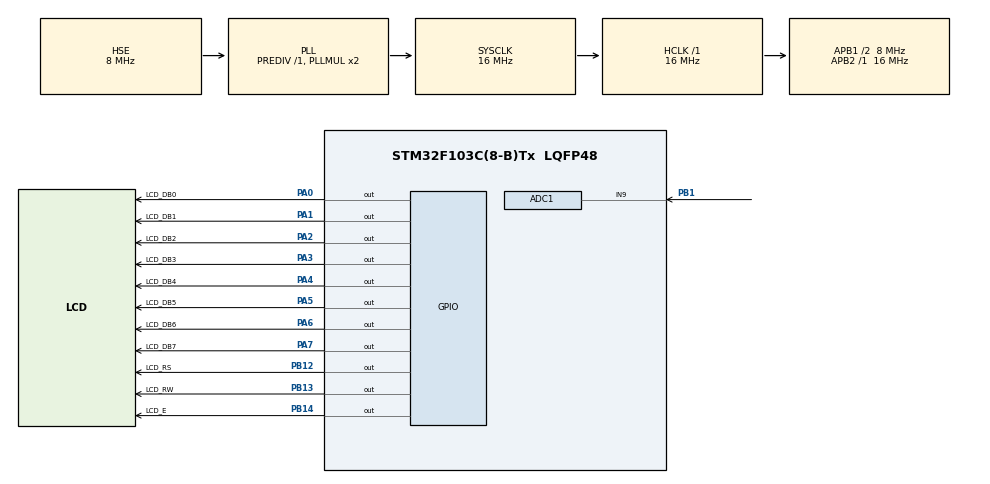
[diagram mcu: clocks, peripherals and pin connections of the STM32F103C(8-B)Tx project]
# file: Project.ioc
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ADC1.Channel-0\#ChannelRegularConversion=ADC_CHANNEL_9
ADC1.ContinuousConvMode=ENABLE
ADC1.NbrOfConversionFlag=1
ADC1.Rank-0\#ChannelRegularConversion=1
ADC1.SamplingTime-0\#ChannelRegularConversion=ADC_SAMPLETIME_1CYCLE_5
ADC1.master=1
Mcu.Family=STM32F1
Mcu.Name=STM32F103C(8-B)Tx
Mcu.Package=LQFP48
NVIC.PriorityGroup=NVIC_PRIORITYGROUP_4
NVIC.TIM2_IRQn=true\:0\:0\:false\:false\:true\:true\:true\:true
PA0-WKUP.GPIO_Label=LCD_DB0
PA0-WKUP.GPIO_Speed=GPIO_SPEED_FREQ_MEDIUM
PA0-WKUP.Signal=GPIO_Output
PA1.GPIO_Label=LCD_DB1
PA1.GPIO_Speed=GPIO_SPEED_FREQ_MEDIUM
PA1.Signal=GPIO_Output
PA13.Mode=Serial_Wire
PA13.Signal=SYS_JTMS-SWDIO
PA14.Mode=Serial_Wire
PA14.Signal=SYS_JTCK-SWCLK
PA2.GPIO_Label=LCD_DB2
PA2.GPIO_Speed=GPIO_SPEED_FREQ_MEDIUM
PA2.Signal=GPIO_Output
PA3.GPIO_Label=LCD_DB3
PA3.GPIO_Speed=GPIO_SPEED_FREQ_MEDIUM
PA3.Signal=GPIO_Output
PA4.GPIO_Label=LCD_DB4
PA4.GPIO_Speed=GPIO_SPEED_FREQ_MEDIUM
PA4.Signal=GPIO_Output
PA5.GPIO_Label=LCD_DB5
PA5.GPIO_Speed=GPIO_SPEED_FREQ_MEDIUM
PA5.Signal=GPIO_Output
PA6.GPIO_Label=LCD_DB6
PA6.GPIO_Speed=GPIO_SPEED_FREQ_MEDIUM
PA6.Signal=GPIO_Output
PA7.GPIO_Label=LCD_DB7
PA7.GPIO_Speed=GPIO_SPEED_FREQ_MEDIUM
PA7.Signal=GPIO_Output
PB1.Signal=ADCx_IN9
PB12.GPIO_Label=LCD_RS
PB12.GPIO_Speed=GPIO_SPEED_FREQ_MEDIUM
PB12.Signal=GPIO_Output
PB13.GPIO_Label=LCD_RW
PB13.GPIO_Speed=GPIO_SPEED_FREQ_MEDIUM
PB13.Signal=GPIO_Output
PB14.GPIO_Label=LCD_E
PB14.GPIO_Speed=GPIO_SPEED_FREQ_MEDIUM
PB14.Signal=GPIO_Output
PD0-OSC_IN.Mode=HSE-External-Oscillator
PD0-OSC_IN.Signal=RCC_OSC_IN
PD1-OSC_OUT.Mode=HSE-External-Oscillator
PD1-OSC_OUT.Signal=RCC_OSC_OUT
ProjectManager.HeapSize=0x200
ProjectManager.StackSize=0x400
ProjectManager.TargetToolchain=STM32CubeIDE
RCC.AHBFreq_Value=16000000
RCC.APB1CLKDivider=RCC_HCLK_DIV2
RCC.APB1Freq_Value=8000000
RCC.APB1TimFreq_Value=16000000
RCC.APB2Freq_Value=16000000
RCC.APB2TimFreq_Value=16000000
RCC.HCLKFreq_Value=16000000
RCC.PLLSourceVirtual=RCC_PLLSOURCE_HSE
RCC.SYSCLKFreq_VALUE=16000000
RCC.SYSCLKSource=RCC_SYSCLKSOURCE_PLLCLK
RCC.USBFreq_Value=16000000
SH.ADCx_IN9.0=ADC1_IN9,IN9
TIM2.Period=10000-1
TIM2.Prescaler=7200-1
TIM2.TIM_MasterOutputTrigger=TIM_TRGO_UPDATE
VP_TIM2_VS_ClockSourceINT.Mode=Internal
board=custom

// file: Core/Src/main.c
/* USER CODE BEGIN Header */
/**
 ******************************************************************************
 * @file           : main.c
 * @brief          : Main program body
 ******************************************************************************
 * @attention
 *
 * Copyright (c) 2024 STMicroelectronics.
 * All rights reserved.
 *
 * This software is licensed under terms that can be found in the LICENSE file
 * in the root directory of this software component.
 * If no LICENSE file comes with this software, it is provided AS-IS.
 *
 ******************************************************************************
 */
/* USER CODE END Header */
#include "main.h"
#include "adc.h"
#include "tim.h"
#include "gpio.h"
#include "Delay.h"
#include "lcd1602.h"
#include <stdint.h>

void SystemClock_Config(void);
uint16_t calculateHumidity(uint16_t readValue);

/* USER CODE BEGIN 0 */
uint16_t readValue;

#define EXTREME_DRY 2555
#define EXTREME_WET 1755

uint16_t calculateHumidity(uint16_t readValue)
{
    volatile double Humidity;
    if (readValue >= EXTREME_DRY) {
        Humidity = 0.0; // 乾燥
    } else if (readValue <= EXTREME_WET) {
        Humidity = 100.0; // 潮濕
    } else {
        Humidity = ((double)(EXTREME_DRY - readValue) / (EXTREME_DRY - EXTREME_WET)) * 100.0;
    }
    return (uint16_t)Humidity;
}
/* USER CODE END 0 */

int main(void)
{

  /* USER CODE BEGIN 1 */
    uint16_t humidity;
  /* USER CODE END 1 */

  /* MCU Configuration--------------------------------------------------------*/

  /* Reset of all peripherals, Initializes the Flash interface and the Systick. */
  HAL_Init();

  /* Configure the system clock */
  SystemClock_Config();

  /* Initialize all configured peripherals */
  MX_GPIO_Init();
  MX_TIM2_Init();
  MX_ADC1_Init();
  /* USER CODE BEGIN 2 */

    LCD_init(); // BJ LCD initiate
    uchar startMoistureString[] = "Moisture: ";

    HAL_ADC_Start(&hadc1);
  /* USER CODE END 2 */

  /* Infinite loop */
    while (1) {

    /* USER CODE BEGIN 3 */
        // LCD_Clear();
        Delay_ms(10);
        // LCD_Display_String(0, 0, startStr2);
        HAL_ADC_PollForConversion(&hadc1, 1000);
        readValue = HAL_ADC_GetValue(&hadc1);

        // LCD_Display_Decimal(0, 0, readValue, 5); // I think this line may be helpful

        LCD_Display_String(0, 0,startMoistureString);
        humidity = calculateHumidity(readValue);
        LCD_Display_Decimal(0, 10, humidity, 5);

        // Below logic is NECESSARY!!!!!!!!
        // Otherwise, the lcd would display " ... 5%% ... " AFTER displaying a TWO digits humidity
        if (humidity < 10)
        {
            LCD_Display_Char('%', 0, 11);
            LCD_Display_Char(' ', 0, 12);
        }
        else
        {
            LCD_Display_Char('%', 0, 12);
        }

        // LCD_Display_Char('%',0, 12);
        // Delay_s(1000);
        // LCD_Clear();
    }
    /* USER CODE END 3 */
}

void SystemClock_Config(void)
{
  RCC_OscInitTypeDef RCC_OscInitStruct = {0};
  RCC_ClkInitTypeDef RCC_ClkInitStruct = {0};
  RCC_PeriphCLKInitTypeDef PeriphClkInit = {0};

  /** Initializes the RCC Oscillators according to the specified parameters
  * in the RCC_OscInitTypeDef structure.
  */
  RCC_OscInitStruct.OscillatorType = RCC_OSCILLATORTYPE_HSE;
  RCC_OscInitStruct.HSEState = RCC_HSE_ON;
  RCC_OscInitStruct.HSEPredivValue = RCC_HSE_PREDIV_DIV1;
  RCC_OscInitStruct.HSIState = RCC_HSI_ON;
  RCC_OscInitStruct.PLL.PLLState = RCC_PLL_ON;
  RCC_OscInitStruct.PLL.PLLSource = RCC_PLLSOURCE_HSE;
  RCC_OscInitStruct.PLL.PLLMUL = RCC_PLL_MUL2;
  if (HAL_RCC_OscConfig(&RCC_OscInitStruct) != HAL_OK)
  {
    Error_Handler();
  }

  /** Initializes the CPU, AHB and APB buses clocks
  */
  RCC_ClkInitStruct.ClockType = RCC_CLOCKTYPE_HCLK|RCC_CLOCKTYPE_SYSCLK
                              |RCC_CLOCKTYPE_PCLK1|RCC_CLOCKTYPE_PCLK2;
  RCC_ClkInitStruct.SYSCLKSource = RCC_SYSCLKSOURCE_PLLCLK;
  RCC_ClkInitStruct.AHBCLKDivider = RCC_SYSCLK_DIV1;
  RCC_ClkInitStruct.APB1CLKDivider = RCC_HCLK_DIV2;
  RCC_ClkInitStruct.APB2CLKDivider = RCC_HCLK_DIV1;

  if (HAL_RCC_ClockConfig(&RCC_ClkInitStruct, FLASH_LATENCY_0) != HAL_OK)
  {
    Error_Handler();
  }
  PeriphClkInit.PeriphClockSelection = RCC_PERIPHCLK_ADC;
  PeriphClkInit.AdcClockSelection = RCC_ADCPCLK2_DIV2;
  if (HAL_RCCEx_PeriphCLKConfig(&PeriphClkInit) != HAL_OK)
  {
    Error_Handler();
  }
}

void Error_Handler(void)
{
    __disable_irq();
    while (1) {
    }
}

#ifdef  USE_FULL_ASSERT
/**
  * @brief  Reports the name of the source file and the source line number
  *         where the assert_param error has occurred.
  * @param  file: pointer to the source file name
  * @param  line: assert_param error line source number
  * @retval None
  */
void assert_failed(uint8_t *file, uint32_t line)
{
  /* USER CODE BEGIN 6 */
  /* User can add his own implementation to report the file name and line
     number, ex: printf("Wrong parameters value: file %s on line %d\r\n", file,
     line) */
  /* USER CODE END 6 */
}
#endif /* USE_FULL_ASSERT */
